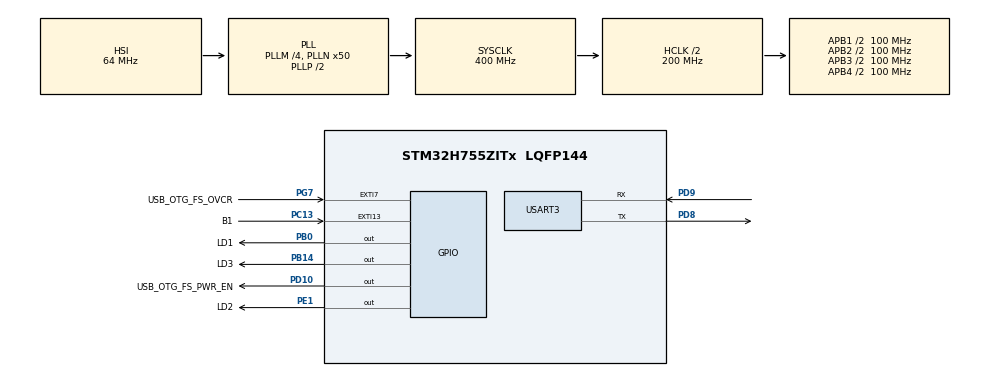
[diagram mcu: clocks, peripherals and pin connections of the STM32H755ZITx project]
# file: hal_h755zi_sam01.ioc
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CortexM4.IPs=FATFS_M4\:I,FREERTOS_M4\:I,IWDG2\:I,RCC,WWDG2\:I,DMA,BDMA,MDMA,NVIC2\:I,ETH,DEBUG,PDM2PCM_M4\:I,PWR,RESMGR_UTILITY,SYS_M4\:I,USB_DEVICE_M4\:I,USB_HOST_M4\:I,CORTEX_M4\:I,GPIO,OPENAMP_M4\:I,VREFBUF,NUCLEO-H755ZI-Q
CortexM4.Pins=PC13,PB0,PB14
CortexM7.IPs=FATFS_M7\:I,FREERTOS_M7\:I,IWDG1\:I,RCC\:I,WWDG1\:I,DMA\:I,BDMA\:I,MDMA\:I,NVIC1\:I,ETH\:I,USART3\:I,USB_OTG_FS\:I,SYS\:I,CORTEX_M7\:I,DEBUG\:I,PDM2PCM_M7\:I,PWR\:I,RESMGR_UTILITY\:I,USB_DEVICE_M7\:I,USB_HOST_M7\:I,GPIO\:I,OPENAMP_M7\:I,VREFBUF\:I,NUCLEO-H755ZI-Q\:I
CortexM7.Pins=PE1
Mcu.Family=STM32H7
Mcu.Name=STM32H755ZITx
Mcu.Package=LQFP144
NVIC1.PriorityGroup=NVIC_PRIORITYGROUP_4
NVIC1.USART3_IRQn=true\:0\:0\:false\:false\:true\:true\:true\:true
NVIC2.EXTI15_10_IRQn=true\:0\:0\:false\:false\:true\:true\:true\:true
NVIC2.PriorityGroup=NVIC_PRIORITYGROUP_4
PA1.PinAttribute=CortexM7
PA1.Signal=ETH_REF_CLK
PA11.PinAttribute=CortexM7
PA11.Signal=USB_OTG_FS_DM
PA12.PinAttribute=CortexM7
PA12.Signal=USB_OTG_FS_DP
PA2.PinAttribute=CortexM7
PA2.Signal=ETH_MDIO
PA7.PinAttribute=CortexM7
PA7.Signal=ETH_CRS_DV
PA8.PinAttribute=CortexM7
PA8.Signal=USB_OTG_FS_SOF
PA9.PinAttribute=CortexM7
PA9.Signal=USB_OTG_FS_VBUS
PB0.GPIO_Label=LD1
PB0.PinAttribute=CortexM4
PB0.Signal=GPIO_Output
PB13.PinAttribute=CortexM7
PB13.Signal=ETH_TXD1
PB14.GPIO_Label=LD3
PB14.PinAttribute=CortexM4
PB14.Signal=GPIO_Output
PC1.PinAttribute=CortexM7
PC1.Signal=ETH_MDC
PC13.GPIO_Label=B1
PC13.PinAttribute=CortexM4
PC13.Signal=GPXTI13
PC14-OSC32_IN\ (OSC32_IN).PinAttribute=Free
PC14-OSC32_IN\ (OSC32_IN).Signal=RCC_OSC32_IN
PC15-OSC32_OUT\ (OSC32_OUT).PinAttribute=Free
PC15-OSC32_OUT\ (OSC32_OUT).Signal=RCC_OSC32_OUT
PC4.PinAttribute=CortexM7
PC4.Signal=ETH_RXD0
PC5.PinAttribute=CortexM7
PC5.Signal=ETH_RXD1
PD10.GPIO_Label=USB_OTG_FS_PWR_EN
PD10.PinAttribute=Free
PD10.Signal=GPIO_Output
PD8.Mode=Asynchronous
PD8.PinAttribute=CortexM7
PD8.Signal=USART3_TX
PD9.Mode=Asynchronous
PD9.PinAttribute=CortexM7
PD9.Signal=USART3_RX
PE1.GPIO_Label=LD2
PE1.PinAttribute=CortexM7
PE1.Signal=GPIO_Output
PG11.PinAttribute=CortexM7
PG11.Signal=ETH_TX_EN
PG13.PinAttribute=CortexM7
PG13.Signal=ETH_TXD0
PG7.GPIO_Label=USB_OTG_FS_OVCR
PG7.PinAttribute=Free
PG7.Signal=GPXTI7
PH0-OSC_IN\ (PH0).PinAttribute=Free
PH0-OSC_IN\ (PH0).Signal=RCC_OSC_IN
PH1-OSC_OUT\ (PH1).PinAttribute=Free
PH1-OSC_OUT\ (PH1).Signal=RCC_OSC_OUT
ProjectManager.HeapSize=M4-0x200,M7-0x200
ProjectManager.StackSize=M4-0x400,M7-0x400
ProjectManager.TargetToolchain=STM32CubeIDE
RCC.ADCFreq_Value=129000000
RCC.APB1Freq_Value=100000000
RCC.APB2Freq_Value=100000000
RCC.APB3Freq_Value=100000000
RCC.APB4Freq_Value=100000000
RCC.CortexFreq_Value=400000000
RCC.D1PPRE=RCC_APB3_DIV2
RCC.D2PPRE1=RCC_APB1_DIV2
RCC.D2PPRE2=RCC_APB2_DIV2
RCC.D3PPRE=RCC_APB4_DIV2
RCC.DIVM1=4
RCC.DIVN1=50
RCC.DIVQ1=5
RCC.HCLKFreq_Value=200000000
RCC.HPRE=RCC_HCLK_DIV2
RCC.PLL2FRACN=0
RCC.PLL3FRACN=0
RCC.PLLFRACN=0
RCC.SYSCLKFreq_VALUE=400000000
RCC.SYSCLKSource=RCC_SYSCLKSOURCE_PLLCLK
RCC.SupplySource=PWR_DIRECT_SMPS_SUPPLY
RCC.USBFreq_Value=160000000
USART3.VirtualMode-Asynchronous=VM_ASYNC
VP_SYS_M4_VS_Systick.Mode=SysTick
board=NUCLEO-H755ZI-Q

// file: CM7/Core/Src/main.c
/* USER CODE BEGIN Header */
/**
  ******************************************************************************
  * @file           : main.c
  * @brief          : Main program body
  ******************************************************************************
  * @attention
  *
  * Copyright (c) 2024 STMicroelectronics.
  * All rights reserved.
  *
  * This software is licensed under terms that can be found in the LICENSE file
  * in the root directory of this software component.
  * If no LICENSE file comes with this software, it is provided AS-IS.
  *
  ******************************************************************************
  */
/* USER CODE END Header */
#include "main.h"

/* USER CODE BEGIN Includes */
#include "drv.h"
#include "lib.h"
/* USER CODE END Includes */

/* USER CODE BEGIN PD */

#ifndef HSEM_ID_0
#define HSEM_ID_0 (0U) /* HW semaphore 0*/
#endif

#define LL_MAX_DELAY (0xFFFFFFFFU)

/* USER CODE END PD */

UART_HandleTypeDef huart3;

/* USER CODE BEGIN PV */
volatile static uint32_t u32s_CycleTimeCounter;		/* 周期時間カウンター			*/
/* USER CODE END PV */

void SystemClock_Config(void);
static void MX_GPIO_Init(void);
static void MX_USART3_UART_Init(void);
/* USER CODE BEGIN PFP */
static void LL_mDelay(uint32_t Delay);

/* USER CODE END PFP */

/* USER CODE BEGIN 0 */

/**
  * @brief  SysTickタイマ経過コールバック関数
  * @param  None
  * @retval None
  */
void SYSTICK_PeriodElapsed_Callback(void)
{
	u32s_CycleTimeCounter++;
}

/* USER CODE END 0 */

int main(void)
{

/* USER CODE BEGIN Boot_Mode_Sequence_0 */
  int32_t timeout;
/* USER CODE END Boot_Mode_Sequence_0 */

/* USER CODE BEGIN Boot_Mode_Sequence_1 */
  /* Wait until CPU2 boots and enters in stop mode or timeout*/
  timeout = 0xFFFF;
  while((__HAL_RCC_GET_FLAG(RCC_FLAG_D2CKRDY) != RESET) && (timeout-- > 0));
  if ( timeout < 0 )
  {
  Error_Handler();
  }
/* USER CODE END Boot_Mode_Sequence_1 */
  /* MCU Configuration--------------------------------------------------------*/

  /* Reset of all peripherals, Initializes the Flash interface and the Systick. */
  HAL_Init();

  /* USER CODE BEGIN Init */
	u32s_CycleTimeCounter = 0;
  /* USER CODE END Init */

  /* Configure the system clock */
  SystemClock_Config();
/* USER CODE BEGIN Boot_Mode_Sequence_2 */
/* When system initialization is finished, Cortex-M7 will release Cortex-M4 by means of
HSEM notification */
/*HW semaphore Clock enable*/
__HAL_RCC_HSEM_CLK_ENABLE();
/*Take HSEM */
HAL_HSEM_FastTake(HSEM_ID_0);
/*Release HSEM in order to notify the CPU2(CM4)*/
HAL_HSEM_Release(HSEM_ID_0,0);
/* wait until CPU2 wakes up from stop mode */
timeout = 0xFFFF;
while((__HAL_RCC_GET_FLAG(RCC_FLAG_D2CKRDY) == RESET) && (timeout-- > 0));
if ( timeout < 0 )
{
Error_Handler();
}
/* USER CODE END Boot_Mode_Sequence_2 */

  /* USER CODE BEGIN SysInit */
	/* タイマー初期化処理 */
	taskTimerInit();
  /* USER CODE END SysInit */

  /* Initialize all configured peripherals */
  MX_GPIO_Init();
  MX_USART3_UART_Init();
  /* USER CODE BEGIN 2 */
	/* UARTドライバー初期化処理 */
	taskUartDriverInit();
	/* SYNCドライバー初期化処理 */
	taskSyncDriverInit();
	/* 初期化関数 */
	setup();
  /* USER CODE END 2 */

  /* Infinite loop */
  /* USER CODE BEGIN WHILE */
	while (true) {
    /* USER CODE END WHILE */

    /* USER CODE BEGIN 3 */
		/* 周期時間カウンターがシステムの周期時間[ms]に達した場合 */
		if (u32s_CycleTimeCounter >= SYS_CYCLE_TIME) {
			/* Disable Interrupts */
			__disable_irq();
			u32s_CycleTimeCounter = 0;
			/* Enable Interrupts */
			__enable_irq();

			/* タイマー更新処理 */
			taskTimerUpdate();
			/* UARTドライバー入力処理 */
			taskUartDriverInput();
			/* SYNCドライバー入力処理 */
			taskSyncDriverInput();
			/* 周期処理関数 */
			loop();
			/* UARTドライバー出力処理 */
			taskUartDriverOutput();
			/* SYNCドライバー出力処理 */
			taskSyncDriverOutput();
		}
	}
  /* USER CODE END 3 */
}

void SystemClock_Config(void)
{
  RCC_OscInitTypeDef RCC_OscInitStruct = {0};
  RCC_ClkInitTypeDef RCC_ClkInitStruct = {0};

  /** Supply configuration update enable
  */
  HAL_PWREx_ConfigSupply(PWR_DIRECT_SMPS_SUPPLY);

  /** Configure the main internal regulator output voltage
  */
  __HAL_PWR_VOLTAGESCALING_CONFIG(PWR_REGULATOR_VOLTAGE_SCALE1);

  while(!__HAL_PWR_GET_FLAG(PWR_FLAG_VOSRDY)) {}

  /** Initializes the RCC Oscillators according to the specified parameters
  * in the RCC_OscInitTypeDef structure.
  */
  RCC_OscInitStruct.OscillatorType = RCC_OSCILLATORTYPE_HSI;
  RCC_OscInitStruct.HSIState = RCC_HSI_DIV1;
  RCC_OscInitStruct.HSICalibrationValue = RCC_HSICALIBRATION_DEFAULT;
  RCC_OscInitStruct.PLL.PLLState = RCC_PLL_ON;
  RCC_OscInitStruct.PLL.PLLSource = RCC_PLLSOURCE_HSI;
  RCC_OscInitStruct.PLL.PLLM = 4;
  RCC_OscInitStruct.PLL.PLLN = 50;
  RCC_OscInitStruct.PLL.PLLP = 2;
  RCC_OscInitStruct.PLL.PLLQ = 5;
  RCC_OscInitStruct.PLL.PLLR = 2;
  RCC_OscInitStruct.PLL.PLLRGE = RCC_PLL1VCIRANGE_3;
  RCC_OscInitStruct.PLL.PLLVCOSEL = RCC_PLL1VCOWIDE;
  RCC_OscInitStruct.PLL.PLLFRACN = 0;
  if (HAL_RCC_OscConfig(&RCC_OscInitStruct) != HAL_OK)
  {
    Error_Handler();
  }

  /** Initializes the CPU, AHB and APB buses clocks
  */
  RCC_ClkInitStruct.ClockType = RCC_CLOCKTYPE_HCLK|RCC_CLOCKTYPE_SYSCLK
                              |RCC_CLOCKTYPE_PCLK1|RCC_CLOCKTYPE_PCLK2
                              |RCC_CLOCKTYPE_D3PCLK1|RCC_CLOCKTYPE_D1PCLK1;
  RCC_ClkInitStruct.SYSCLKSource = RCC_SYSCLKSOURCE_PLLCLK;
  RCC_ClkInitStruct.SYSCLKDivider = RCC_SYSCLK_DIV1;
  RCC_ClkInitStruct.AHBCLKDivider = RCC_HCLK_DIV2;
  RCC_ClkInitStruct.APB3CLKDivider = RCC_APB3_DIV2;
  RCC_ClkInitStruct.APB1CLKDivider = RCC_APB1_DIV2;
  RCC_ClkInitStruct.APB2CLKDivider = RCC_APB2_DIV2;
  RCC_ClkInitStruct.APB4CLKDivider = RCC_APB4_DIV2;

  if (HAL_RCC_ClockConfig(&RCC_ClkInitStruct, FLASH_LATENCY_2) != HAL_OK)
  {
    Error_Handler();
  }
}

static void MX_USART3_UART_Init(void)
{

  huart3.Instance = USART3;
  huart3.Init.BaudRate = 115200;
  huart3.Init.WordLength = UART_WORDLENGTH_8B;
  huart3.Init.StopBits = UART_STOPBITS_1;
  huart3.Init.Parity = UART_PARITY_NONE;
  huart3.Init.Mode = UART_MODE_TX_RX;
  huart3.Init.HwFlowCtl = UART_HWCONTROL_NONE;
  huart3.Init.OverSampling = UART_OVERSAMPLING_16;
  huart3.Init.OneBitSampling = UART_ONE_BIT_SAMPLE_DISABLE;
  huart3.Init.ClockPrescaler = UART_PRESCALER_DIV1;
  huart3.AdvancedInit.AdvFeatureInit = UART_ADVFEATURE_NO_INIT;
  if (HAL_UART_Init(&huart3) != HAL_OK)
  {
    Error_Handler();
  }
  if (HAL_UARTEx_SetTxFifoThreshold(&huart3, UART_TXFIFO_THRESHOLD_1_8) != HAL_OK)
  {
    Error_Handler();
  }
  if (HAL_UARTEx_SetRxFifoThreshold(&huart3, UART_RXFIFO_THRESHOLD_1_8) != HAL_OK)
  {
    Error_Handler();
  }
  if (HAL_UARTEx_DisableFifoMode(&huart3) != HAL_OK)
  {
    Error_Handler();
  }

}

static void MX_GPIO_Init(void)
{
  GPIO_InitTypeDef GPIO_InitStruct = {0};

  /* GPIO Ports Clock Enable */
  __HAL_RCC_GPIOC_CLK_ENABLE();
  __HAL_RCC_GPIOA_CLK_ENABLE();
  __HAL_RCC_GPIOB_CLK_ENABLE();
  __HAL_RCC_GPIOD_CLK_ENABLE();
  __HAL_RCC_GPIOG_CLK_ENABLE();
  __HAL_RCC_GPIOE_CLK_ENABLE();

  /*Configure GPIO pin Output Level */
  HAL_GPIO_WritePin(LD2_GPIO_Port, LD2_Pin, GPIO_PIN_RESET);

  /*Configure GPIO pins : PC1 PC4 PC5 */
  GPIO_InitStruct.Pin = GPIO_PIN_1|GPIO_PIN_4|GPIO_PIN_5;
  GPIO_InitStruct.Mode = GPIO_MODE_AF_PP;
  GPIO_InitStruct.Pull = GPIO_NOPULL;
  GPIO_InitStruct.Speed = GPIO_SPEED_FREQ_LOW;
  GPIO_InitStruct.Alternate = GPIO_AF11_ETH;
  HAL_GPIO_Init(GPIOC, &GPIO_InitStruct);

  /*Configure GPIO pins : PA1 PA2 PA7 */
  GPIO_InitStruct.Pin = GPIO_PIN_1|GPIO_PIN_2|GPIO_PIN_7;
  GPIO_InitStruct.Mode = GPIO_MODE_AF_PP;
  GPIO_InitStruct.Pull = GPIO_NOPULL;
  GPIO_InitStruct.Speed = GPIO_SPEED_FREQ_LOW;
  GPIO_InitStruct.Alternate = GPIO_AF11_ETH;
  HAL_GPIO_Init(GPIOA, &GPIO_InitStruct);

  /*Configure GPIO pin : PB13 */
  GPIO_InitStruct.Pin = GPIO_PIN_13;
  GPIO_InitStruct.Mode = GPIO_MODE_AF_PP;
  GPIO_InitStruct.Pull = GPIO_NOPULL;
  GPIO_InitStruct.Speed = GPIO_SPEED_FREQ_LOW;
  GPIO_InitStruct.Alternate = GPIO_AF11_ETH;
  HAL_GPIO_Init(GPIOB, &GPIO_InitStruct);

  /*Configure GPIO pins : PA8 PA11 PA12 */
  GPIO_InitStruct.Pin = GPIO_PIN_8|GPIO_PIN_11|GPIO_PIN_12;
  GPIO_InitStruct.Mode = GPIO_MODE_AF_PP;
  GPIO_InitStruct.Pull = GPIO_NOPULL;
  GPIO_InitStruct.Speed = GPIO_SPEED_FREQ_LOW;
  GPIO_InitStruct.Alternate = GPIO_AF10_OTG1_FS;
  HAL_GPIO_Init(GPIOA, &GPIO_InitStruct);

  /*Configure GPIO pins : PG11 PG13 */
  GPIO_InitStruct.Pin = GPIO_PIN_11|GPIO_PIN_13;
  GPIO_InitStruct.Mode = GPIO_MODE_AF_PP;
  GPIO_InitStruct.Pull = GPIO_NOPULL;
  GPIO_InitStruct.Speed = GPIO_SPEED_FREQ_LOW;
  GPIO_InitStruct.Alternate = GPIO_AF11_ETH;
  HAL_GPIO_Init(GPIOG, &GPIO_InitStruct);

  /*Configure GPIO pin : LD2_Pin */
  GPIO_InitStruct.Pin = LD2_Pin;
  GPIO_InitStruct.Mode = GPIO_MODE_OUTPUT_PP;
  GPIO_InitStruct.Pull = GPIO_NOPULL;
  GPIO_InitStruct.Speed = GPIO_SPEED_FREQ_LOW;
  HAL_GPIO_Init(LD2_GPIO_Port, &GPIO_InitStruct);

}

/* USER CODE BEGIN 4 */

/**
  * @brief  This function provides accurate delay (in milliseconds) based
  *         on SysTick counter flag
  * @param  Delay: specifies the delay time length, in milliseconds.
  * @retval None
  */
static void LL_mDelay(uint32_t Delay)
{
	uint32_t count = Delay;
	__IO uint32_t tmp = SysTick->CTRL; /* Clear the COUNTFLAG first */
	/* Add this code to indicate that local variable is not used */
	((void)tmp);

	/* Add a period to guaranty minimum wait */
	if (count < LL_MAX_DELAY) {
		count++;
	}

	while (count != 0U) {
		if((SysTick->CTRL & SysTick_CTRL_COUNTFLAG_Msk) != 0U) {
			count--;
		}
	}
}

/* USER CODE END 4 */

void Error_Handler(void)
{
  /* USER CODE BEGIN Error_Handler_Debug */
	/* User can add his own implementation to report the HAL error return state */
	__disable_irq();
	while (1) {
		/* ユーザーLEDを反転出力する */
		HAL_GPIO_TogglePin(LD2_GPIO_Port, LD2_Pin);
		/* 100ms待つ */
		LL_mDelay(100);
	}
  /* USER CODE END Error_Handler_Debug */
}
